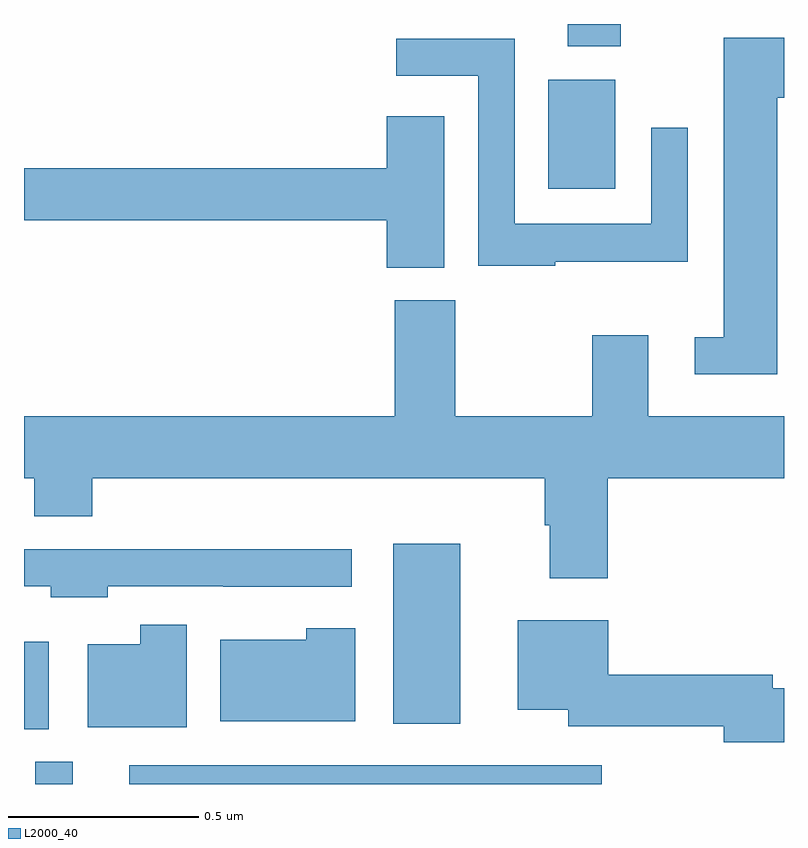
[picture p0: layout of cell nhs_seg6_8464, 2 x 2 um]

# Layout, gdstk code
import gdstk
lib = gdstk.Library(unit=1e-6, precision=1e-09)
def R(c, l, rs):  # rectangles x0, y0, x1, y1
    for r in rs: c.add(gdstk.rectangle(r[:2], r[2:], *l))
def P(c, l, *ps):  # polygons
    for p in ps: c.add(gdstk.Polygon(p, *l))
L2000_40 = (2000, 40)

nhs_seg6_8464 = lib.new_cell('nhs_seg6_8464')
R(nhs_seg6_8464, L2000_40, [(221.03,978.5,221.128,978.559), (221,978.644,221.065,978.874), (221.972,978.659,222.148,979.132), (222.38,980.066,222.556,980.353), (222.431,980.442,222.571,980.5)])
P(nhs_seg6_8464, L2000_40, [(222.982,980.306),(223,980.306),(223,980.464),(222.842,980.464),(222.842,979.676),(222.765,979.676),(222.765,979.578),(222.982,979.578)],
  [(222.398,979.874),(222.747,979.874),(222.747,980.227),(222.651,980.227),(222.651,979.975),(222.291,979.975),(222.291,980.461),(221.979,980.461),(221.979,980.364),(222.195,980.364),(222.195,979.864),(222.398,979.864)],
  [(222.106,980.257),(221.954,980.257),(221.954,980.12),(221,980.12),(221,979.984),(221.954,979.984),(221.954,979.858),(222.106,979.858)],
  [(222.536,979.304),(223,979.304),(223,979.468),(222.643,979.468),(222.643,979.681),(222.496,979.681),(222.496,979.468),(222.135,979.468),(222.135,979.773),(221.975,979.773),(221.975,979.468),(221,979.468),(221,979.304),(221.027,979.304),(221.027,979.205),(221.18,979.205),(221.18,979.304),(222.371,979.304),(222.371,979.181),(222.383,979.181),(222.383,979.041),(222.536,979.041)],
  [(221.22,979.02),(221.524,979.02),(221.524,979.019),(221.863,979.019),(221.863,979.118),(221,979.118),(221,979.02),(221.07,979.02),(221.07,978.992),(221.22,978.992)],
  [(223,978.752),(222.97,978.752),(222.97,978.788),(222.538,978.788),(222.538,978.931),(222.299,978.931),(222.299,978.695),(222.432,978.695),(222.432,978.652),(222.842,978.652),(222.842,978.61),(223,978.61)],
  [(221.428,978.919),(221.306,978.919),(221.306,978.868),(221.168,978.868),(221.168,978.65),(221.428,978.65)],
  [(221.872,978.91),(221.743,978.91),(221.743,978.88),(221.516,978.88),(221.516,978.665),(221.872,978.665)],
  [(222.521,978.55),(222.229,978.55),(222.229,978.549),(221.277,978.549),(221.277,978.5),(222.521,978.5)])

lib.write_gds('nhs_seg6_8464.gds')
